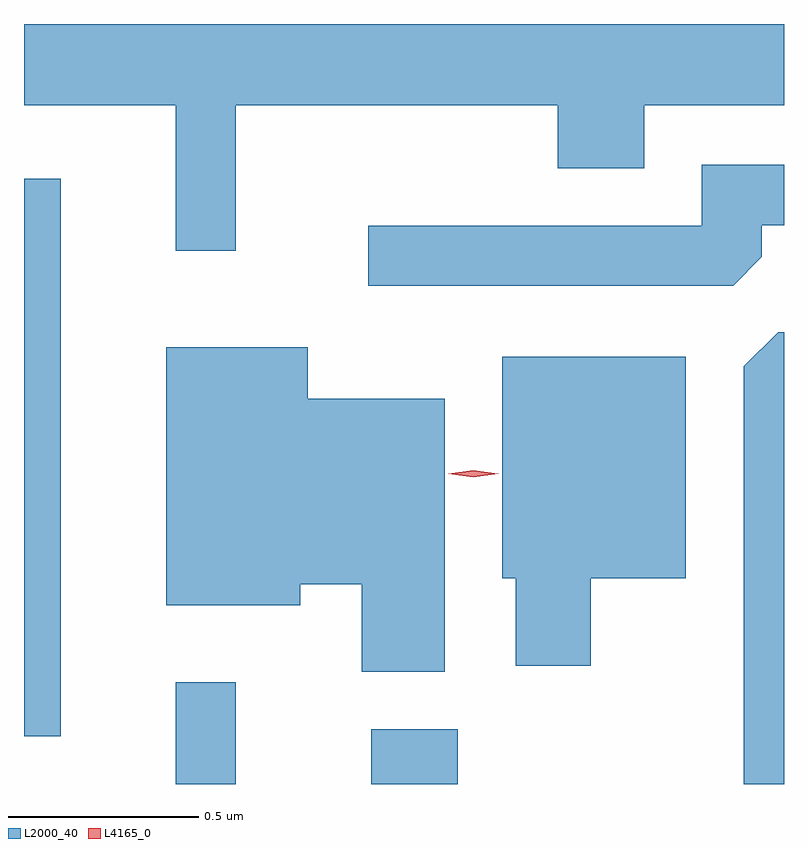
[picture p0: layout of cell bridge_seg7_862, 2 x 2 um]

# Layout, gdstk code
import gdstk
lib = gdstk.Library(unit=1e-6, precision=1e-09)
def R(c, l, rs):  # rectangles x0, y0, x1, y1
    for r in rs: c.add(gdstk.rectangle(r[:2], r[2:], *l))
def P(c, l, *ps):  # polygons
    for p in ps: c.add(gdstk.Polygon(p, *l))
L2000_40 = (2000, 40)
L4165_0 = (4165, 0)

bridge_seg7_862 = lib.new_cell('bridge_seg7_862')
R(bridge_seg7_862, L2000_40, [(209.256,1794.67,209.414,1794.938), (209.771,1794.67,209.999,1794.814), (208.857,1794.796,208.954,1796.263)])
P(bridge_seg7_862, L2000_40, [(209.414,1796.456),(210.261,1796.456),(210.261,1796.291),(210.489,1796.291),(210.489,1796.456),(210.857,1796.456),(210.857,1796.67),(208.857,1796.67),(208.857,1796.456),(209.256,1796.456),(209.256,1796.073),(209.414,1796.073)],
  [(210.799,1796.057),(210.799,1796.141),(210.857,1796.141),(210.857,1796.299),(210.641,1796.299),(210.641,1796.139),(209.763,1796.139),(209.763,1795.981),(210.724,1795.981)],
  [(210.857,1795.859),(210.842,1795.859),(210.751,1795.769),(210.751,1794.67),(210.857,1794.67)],
  [(209.964,1795.684),(209.604,1795.684),(209.604,1795.819),(209.231,1795.819),(209.231,1795.141),(209.584,1795.141),(209.584,1795.196),(209.746,1795.196),(209.746,1794.966),(209.964,1794.966)],
  [(210.349,1795.211),(210.599,1795.211),(210.599,1795.794),(210.116,1795.794),(210.116,1795.211),(210.151,1795.211),(210.151,1794.981),(210.349,1794.981)])
P(bridge_seg7_862, L4165_0, [(210.039,1795.477),(209.973,1795.486),(209.973,1795.486),(209.973,1795.487),(210.039,1795.496),(210.105,1795.487),(210.106,1795.487),(210.105,1795.486)])

lib.write_gds('bridge_seg7_862.gds')
